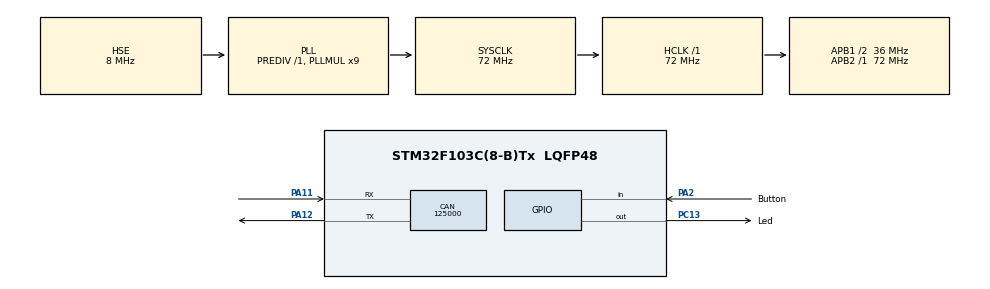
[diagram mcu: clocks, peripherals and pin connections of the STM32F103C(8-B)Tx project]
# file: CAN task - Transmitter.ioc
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CAN.BS1=CAN_BS1_15TQ
CAN.BS2=CAN_BS2_2TQ
CAN.CalculateBaudRate=125000
CAN.CalculateTimeBit=8000
CAN.CalculateTimeQuantum=444.44444444444446
Mcu.Family=STM32F1
Mcu.Name=STM32F103C(8-B)Tx
Mcu.Package=LQFP48
NVIC.PriorityGroup=NVIC_PRIORITYGROUP_4
PA11.Mode=CAN_Activate
PA11.Signal=CAN_RX
PA12.Mode=CAN_Activate
PA12.Signal=CAN_TX
PA13.Mode=Serial_Wire
PA13.Signal=SYS_JTMS-SWDIO
PA14.Mode=Serial_Wire
PA14.Signal=SYS_JTCK-SWCLK
PA2.GPIO_Label=Button
PA2.GPIO_PuPd=GPIO_PULLUP
PA2.Signal=GPIO_Input
PC13-TAMPER-RTC.GPIO_Label=Led
PC13-TAMPER-RTC.Signal=GPIO_Output
PD0-OSC_IN.Mode=HSE-External-Oscillator
PD0-OSC_IN.Signal=RCC_OSC_IN
PD1-OSC_OUT.Mode=HSE-External-Oscillator
PD1-OSC_OUT.Signal=RCC_OSC_OUT
ProjectManager.HeapSize=0x200
ProjectManager.StackSize=0x400
ProjectManager.TargetToolchain=STM32CubeIDE
RCC.AHBFreq_Value=72000000
RCC.APB1CLKDivider=RCC_HCLK_DIV2
RCC.APB1Freq_Value=36000000
RCC.APB1TimFreq_Value=72000000
RCC.APB2Freq_Value=72000000
RCC.APB2TimFreq_Value=72000000
RCC.HCLKFreq_Value=72000000
RCC.PLLMUL=RCC_PLL_MUL9
RCC.PLLSourceVirtual=RCC_PLLSOURCE_HSE
RCC.SYSCLKFreq_VALUE=72000000
RCC.SYSCLKSource=RCC_SYSCLKSOURCE_PLLCLK
RCC.USBFreq_Value=72000000
board=custom

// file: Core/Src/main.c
/* USER CODE BEGIN Header */
/**
  ******************************************************************************
  * @file           : main.c
  * @brief          : Main program body
  ******************************************************************************
  * @attention
  *
  * Copyright (c) 2025 STMicroelectronics.
  * All rights reserved.
  *
  * This software is licensed under terms that can be found in the LICENSE file
  * in the root directory of this software component.
  * If no LICENSE file comes with this software, it is provided AS-IS.
  *
  ******************************************************************************
  */
/* USER CODE END Header */
#include "main.h"

CAN_HandleTypeDef hcan;

/* USER CODE BEGIN PV */
CAN_TxHeaderTypeDef Transmit_Header;
uint32_t Transmit_Mailbox;
uint8_t Transmit_Data[1];
GPIO_PinState last_button_state;
/* USER CODE END PV */

void SystemClock_Config(void);
static void MX_GPIO_Init(void);
static void MX_CAN_Init(void);

int main(void)
{

  /* MCU Configuration--------------------------------------------------------*/

  /* Reset of all peripherals, Initializes the Flash interface and the Systick. */
  HAL_Init();

  /* Configure the system clock */
  SystemClock_Config();

  /* Initialize all configured peripherals */
  MX_GPIO_Init();
  MX_CAN_Init();
  /* USER CODE BEGIN 2 */
  // Page number #96, Chapter #9: "HAL CAN Generic Driver"
    HAL_CAN_Start (&hcan);
    Transmit_Header.StdId = 0x67;
    Transmit_Header.IDE = CAN_ID_STD;
    Transmit_Header.RTR = CAN_RTR_DATA;
    Transmit_Header.DLC = 1;
    last_button_state = GPIO_PIN_SET;
    HAL_GPIO_WritePin(GPIOC, GPIO_PIN_13, GPIO_PIN_SET);
    Transmit_Data[0] = '0';
  /* USER CODE END 2 */

  /* Infinite loop */
  /* USER CODE BEGIN WHILE */
  while (1)
  {
	  // Page number #227, Chapter #20: "HAL GPIO Generic Driver", Section #2: "GPIO Firmware driver API description" //
	       GPIO_PinState current_button_state = HAL_GPIO_ReadPin (GPIOA, GPIO_PIN_2);

	         if(last_button_state == current_button_state) {
	             continue;
	         }
	           if (current_button_state == GPIO_PIN_RESET) {
	               HAL_GPIO_WritePin(GPIOC, GPIO_PIN_13, GPIO_PIN_SET);
	               Transmit_Data[0] = '0';
	           }
	           else if(current_button_state == GPIO_PIN_SET){
	               HAL_GPIO_WritePin(GPIOC, GPIO_PIN_13, GPIO_PIN_RESET);
	               Transmit_Data[0] = '1';
	           }
	           if (HAL_CAN_AddTxMessage(&hcan, &Transmit_Header, Transmit_Data, &Transmit_Mailbox) != HAL_OK) {
	               Error_Handler ();
	           }
	           last_button_state = current_button_state;

	           HAL_Delay(1);
    /* USER CODE END WHILE */

  }
}

void SystemClock_Config(void)
{
  RCC_OscInitTypeDef RCC_OscInitStruct = {0};
  RCC_ClkInitTypeDef RCC_ClkInitStruct = {0};

  /** Initializes the RCC Oscillators according to the specified parameters
  * in the RCC_OscInitTypeDef structure.
  */
  RCC_OscInitStruct.OscillatorType = RCC_OSCILLATORTYPE_HSE;
  RCC_OscInitStruct.HSEState = RCC_HSE_ON;
  RCC_OscInitStruct.HSEPredivValue = RCC_HSE_PREDIV_DIV1;
  RCC_OscInitStruct.HSIState = RCC_HSI_ON;
  RCC_OscInitStruct.PLL.PLLState = RCC_PLL_ON;
  RCC_OscInitStruct.PLL.PLLSource = RCC_PLLSOURCE_HSE;
  RCC_OscInitStruct.PLL.PLLMUL = RCC_PLL_MUL9;
  if (HAL_RCC_OscConfig(&RCC_OscInitStruct) != HAL_OK)
  {
    Error_Handler();
  }

  /** Initializes the CPU, AHB and APB buses clocks
  */
  RCC_ClkInitStruct.ClockType = RCC_CLOCKTYPE_HCLK|RCC_CLOCKTYPE_SYSCLK
                              |RCC_CLOCKTYPE_PCLK1|RCC_CLOCKTYPE_PCLK2;
  RCC_ClkInitStruct.SYSCLKSource = RCC_SYSCLKSOURCE_PLLCLK;
  RCC_ClkInitStruct.AHBCLKDivider = RCC_SYSCLK_DIV1;
  RCC_ClkInitStruct.APB1CLKDivider = RCC_HCLK_DIV2;
  RCC_ClkInitStruct.APB2CLKDivider = RCC_HCLK_DIV1;

  if (HAL_RCC_ClockConfig(&RCC_ClkInitStruct, FLASH_LATENCY_2) != HAL_OK)
  {
    Error_Handler();
  }
}

static void MX_CAN_Init(void)
{

  hcan.Instance = CAN1;
  hcan.Init.Prescaler = 16;
  hcan.Init.Mode = CAN_MODE_NORMAL;
  hcan.Init.SyncJumpWidth = CAN_SJW_1TQ;
  hcan.Init.TimeSeg1 = CAN_BS1_15TQ;
  hcan.Init.TimeSeg2 = CAN_BS2_2TQ;
  hcan.Init.TimeTriggeredMode = DISABLE;
  hcan.Init.AutoBusOff = DISABLE;
  hcan.Init.AutoWakeUp = DISABLE;
  hcan.Init.AutoRetransmission = DISABLE;
  hcan.Init.ReceiveFifoLocked = DISABLE;
  hcan.Init.TransmitFifoPriority = DISABLE;
  if (HAL_CAN_Init(&hcan) != HAL_OK)
  {
    Error_Handler();
  }
  /* USER CODE BEGIN CAN_Init 2 */
  CAN_FilterTypeDef cfconfig;
    cfconfig.FilterBank = 10;
    cfconfig.FilterFIFOAssignment = CAN_RX_FIFO0;
    cfconfig.FilterIdHigh = 0x0000;
    cfconfig.FilterIdLow = 0x0000;
    cfconfig.FilterMaskIdHigh = 0x0000;  // Mask = 0 means accept all
    cfconfig.FilterMaskIdLow = 0x0000;
    cfconfig.FilterMode = CAN_FILTERMODE_IDMASK;
    cfconfig.FilterScale = CAN_FILTERSCALE_32BIT;
    cfconfig.FilterActivation = ENABLE;
    cfconfig.SlaveStartFilterBank = 14;
    HAL_CAN_ConfigFilter(&hcan, &cfconfig);
  /* USER CODE END CAN_Init 2 */

}

static void MX_GPIO_Init(void)
{
  GPIO_InitTypeDef GPIO_InitStruct = {0};

  /* GPIO Ports Clock Enable */
  __HAL_RCC_GPIOC_CLK_ENABLE();
  __HAL_RCC_GPIOD_CLK_ENABLE();
  __HAL_RCC_GPIOA_CLK_ENABLE();

  /*Configure GPIO pin Output Level */
  HAL_GPIO_WritePin(Led_GPIO_Port, Led_Pin, GPIO_PIN_RESET);

  /*Configure GPIO pin : Led_Pin */
  GPIO_InitStruct.Pin = Led_Pin;
  GPIO_InitStruct.Mode = GPIO_MODE_OUTPUT_PP;
  GPIO_InitStruct.Pull = GPIO_NOPULL;
  GPIO_InitStruct.Speed = GPIO_SPEED_FREQ_LOW;
  HAL_GPIO_Init(Led_GPIO_Port, &GPIO_InitStruct);

  /*Configure GPIO pin : Button_Pin */
  GPIO_InitStruct.Pin = Button_Pin;
  GPIO_InitStruct.Mode = GPIO_MODE_INPUT;
  GPIO_InitStruct.Pull = GPIO_PULLUP;
  HAL_GPIO_Init(Button_GPIO_Port, &GPIO_InitStruct);

}

void Error_Handler(void)
{
  __disable_irq();
  while (1)
  {
  }
}
